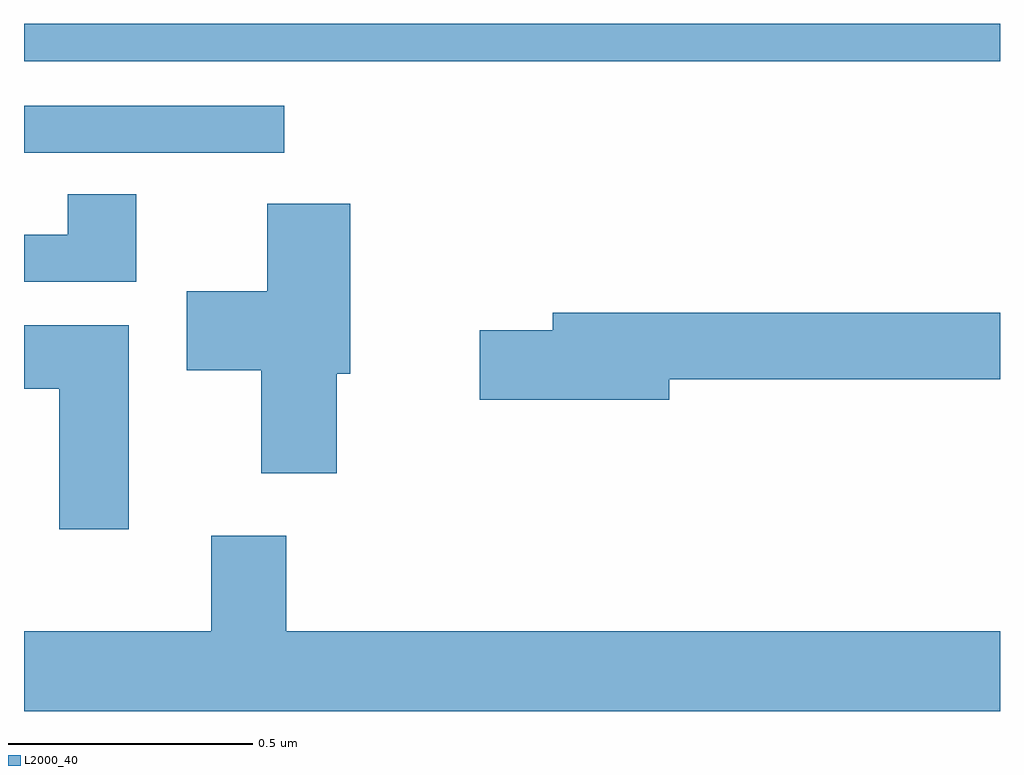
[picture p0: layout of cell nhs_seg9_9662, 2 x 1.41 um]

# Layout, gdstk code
import gdstk
lib = gdstk.Library(unit=1e-6, precision=1e-09)
def R(c, l, rs):  # rectangles x0, y0, x1, y1
    for r in rs: c.add(gdstk.rectangle(r[:2], r[2:], *l))
def P(c, l, *ps):  # polygons
    for p in ps: c.add(gdstk.Polygon(p, *l))
L2000_40 = (2000, 40)

nhs_seg9_9662 = lib.new_cell('nhs_seg9_9662')
R(nhs_seg9_9662, L2000_40, [(233,1192.236,233.533,1192.332), (233,1192.424,235,1192.5)])
P(nhs_seg9_9662, L2000_40, [(233.23,1192.151),(233.09,1192.151),(233.09,1192.068),(233,1192.068),(233,1191.972),(233.23,1191.972)],
  [(233.641,1191.783),(233.669,1191.783),(233.669,1192.132),(233.498,1192.132),(233.498,1191.952),(233.334,1191.952),(233.334,1191.79),(233.486,1191.79),(233.486,1191.579),(233.641,1191.579)],
  [(234.322,1191.772),(235,1191.772),(235,1191.908),(234.083,1191.908),(234.083,1191.872),(233.934,1191.872),(233.934,1191.73),(234.322,1191.73)],
  [(233.215,1191.883),(233,1191.883),(233,1191.752),(233.072,1191.752),(233.072,1191.465),(233.215,1191.465)],
  [(235,1191.256),(233.537,1191.256),(233.537,1191.451),(233.384,1191.451),(233.384,1191.256),(233,1191.256),(233,1191.092),(235,1191.092)])

lib.write_gds('nhs_seg9_9662.gds')
